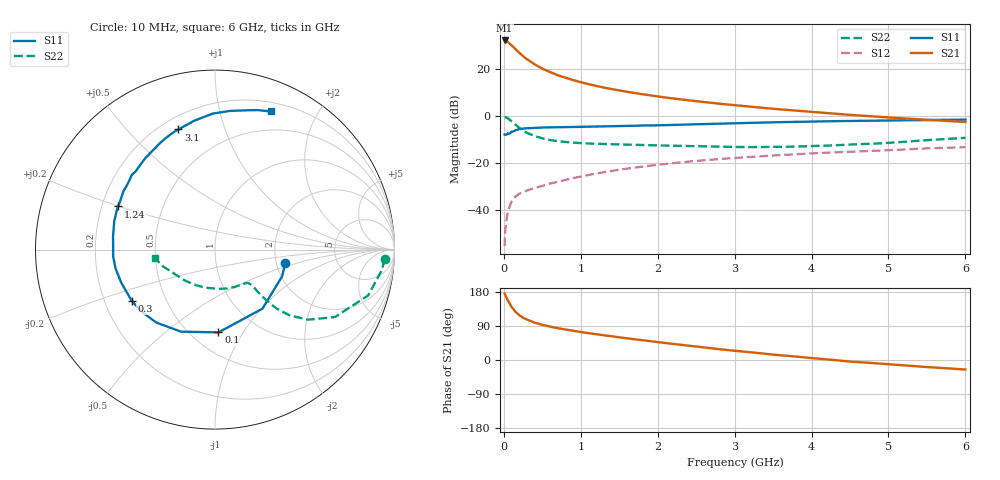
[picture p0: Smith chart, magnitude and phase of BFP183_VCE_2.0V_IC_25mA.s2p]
! Infineon Technologies  Discrete & RF Semiconductors
! BFP183
! VCE = 2.0 V,  IC =  25 mA
! Common Emitter S-Parameters:  Jan 2016
# GHz  S  MA  R  50
!  f  S11  S21  S12  S22
! GHz  MAG  ANG  MAG  ANG  MAG  ANG  MAG  ANG
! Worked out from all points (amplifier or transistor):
!   210 points, 10 MHz to 6 GHz, reference 50 ohm
!   highest |S21| = 32.0 dB at 10 MHz (marker M1)
!   |S21| within 3 dB of that: start of sweep to 130.3 MHz
!   unconditionally stable (mu >= 1): 629.1 MHz to 5.762 GHz
!   at 185 MHz: K = 0.47, MSG = 30.4 dB, |S12| = -33.5 dB
!   at 1.52 GHz: K = 1.19, MAG = 14.1 dB, |S12| = -22.8 dB
!   at 6 GHz: K = 0.97, MSG = 5.3 dB, |S12| = -13.3 dB
!   S11 on the Smith chart (normalised r, x): 10 MHz: 2.24, -0.40; 100 MHz: 0.67, -0.79; 300 MHz: 0.32, -0.26; 1.24 GHz: 0.27, +0.20; 3.1 GHz: 0.27, +0.71; 6 GHz: 0.29, +1.44
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0.01  0.3993 -10.9  39.77 175.4  0.0017 80.7  0.9465 -3.2
0.02  0.4024 -21.9  39.59 171.1  0.0039 79.1  0.9373 -6.9
0.05  0.4222 -51.2  37.51 157.8  0.0088 75.1  0.8904 -16.7
0.1  0.4616 -87.6  31.6 140.1  0.015 61.0  0.7672 -29.3
0.15  0.4949 -112.5  26.2 127.3  0.0191 54.5  0.6475 -37.1
0.2  0.522 -128.9  21.83 118.2  0.0221 51.0  0.5553 -41.3
0.24  0.5312 -137.8  19.09 113.0  0.0234 49.5  0.5005 -43.0
0.26  0.5365 -141.7  17.91 110.5  0.0241 49.1  0.4764 -43.7
0.3  0.5451 -148.5  15.9 106.4  0.0258 49.3  0.4345 -44.4
0.4  0.5541 -160.7  12.37 98.4  0.0294 50.0  0.3698 -44.8
0.5  0.5642 -169.5  10.01 92.7  0.0323 50.6  0.3307 -44.6
0.6  0.5688 -176.3  8.49 87.9  0.0363 52.6  0.3052 -44.1
0.7  0.5675 178.1  7.254 83.9  0.0395 53.9  0.2882 -44.0
0.8  0.5726 172.9  6.423 80.3  0.0435 54.9  0.2777 -44.2
1.02  0.5835 163.6  5.056 73.2  0.0518 55.7  0.2613 -45.5
1.24  0.5908 156.0  4.163 67.0  0.0608 55.7  0.2529 -47.9
1.56  0.606 145.5  3.32 58.2  0.0737 54.7  0.2445 -52.6
2.02  0.6282 132.0  2.538 46.8  0.0918 51.6  0.2356 -62.0
3.1  0.6999 106.9  1.616 22.6  0.1303 42.2  0.2167 -91.8
4.1  0.7606 89.5  1.174 3.3  0.1617 32.9  0.2296 -124.8
5.1  0.7968 77.0  0.898 -12.5  0.1888 25.0  0.2722 -153.0
6  0.8295 68.1  0.738 -25.2  0.2154 16.4  0.34 -172.4
